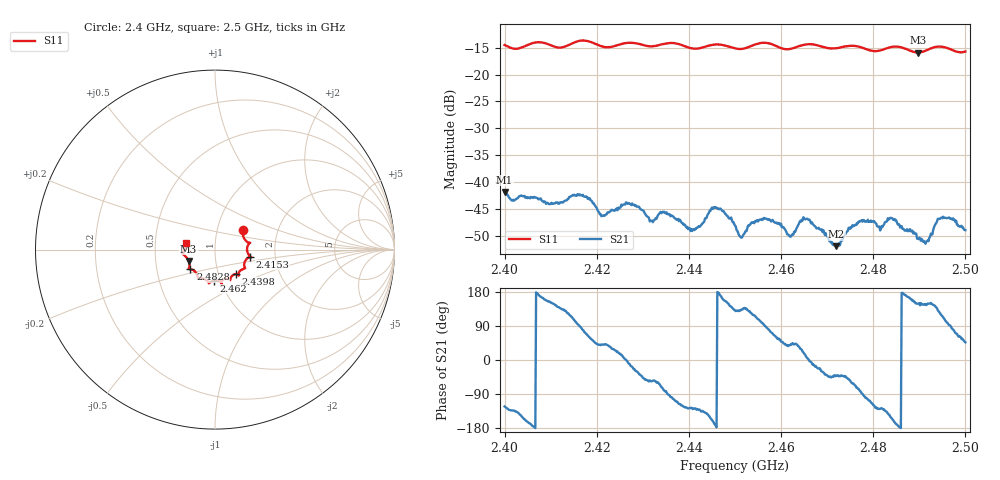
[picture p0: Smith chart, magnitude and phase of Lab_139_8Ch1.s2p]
# Hz S RI R 50
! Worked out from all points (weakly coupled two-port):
!   601 points, 2.4 GHz to 2.5 GHz, reference 50 ohm
!   highest |S21| = -41.83 dB at 2.4 GHz (marker M1); lowest = -51.9 dB at 2.472 GHz (marker M2)
!   lowest |S11| = -15.9 dB at 2.4897 GHz (marker M3), VSWR 1.38, Z = 36.9 - j4.81 ohm
!   |S11| at or under -10 dB: start of sweep to end of sweep
!   S12 and S22 are empty: the file has one direction only
!   S11 on the Smith chart (normalised r, x): 2.4 GHz: 1.33, +0.29; 2.4153 GHz: 1.48, -0.12; 2.4398 GHz: 1.21, -0.34; 2.462 GHz: 0.93, -0.33; 2.4828 GHz: 0.74, -0.17; 2.5 GHz: 0.72, +0.06
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2.4e9  0.1551 0.1066  -0.00437 -0.00682  0 0  0 0
2.41e9  0.1853 0.027  -0.00552 0.00299  0 0  0 0
2.415333e9  0.1965 -0.0386  -0.00158 0.00736  0 0  0 0
2.416667e9  0.2025 -0.0427  0.000802 0.00751  0 0  0 0
2.421167e9  0.1742 -0.0549  0.00365 0.00319  0 0  0 0
2.426833e9  0.1686 -0.1027  0.00629 -0.00086  0 0  0 0
2.433333e9  0.1308 -0.1337  0.00252 -0.0043  0 0  0 0
2.439833e9  0.1156 -0.1362  -0.00224 -0.00289  0 0  0 0
2.4455e9  0.0845 -0.1699  -0.00573 -0.0012  0 0  0 0
2.45e9  0.0654 -0.1625  -0.0026 0.00297  0 0  0 0
2.451333e9  0.0505 -0.1652  -0.00205 0.00226  0 0  0 0
2.456833e9  0.0393 -0.1927  0.000326 0.00458  0 0  0 0
2.462e9  -0.00517 -0.1728  0.0024 0.00199  0 0  0 0
2.466667e9  -0.0343 -0.1879  0.00421 -0.000586  0 0  0 0
2.472e9  -0.0698 -0.1611  0.00193 -0.00166  0 0  0 0
2.477e9  -0.0961 -0.1535  0.00073 -0.00421  0 0  0 0
2.482833e9  -0.1366 -0.1093  -0.00308 -0.00299  0 0  0 0
2.483333e9  -0.1402 -0.109  -0.00361 -0.00267  0 0  0 0
2.489667e9  -0.1469 -0.0635  -0.00254 0.00156  0 0  0 0
2.491667e9  -0.1645 -0.0375  -0.00236 0.00156  0 0  0 0
2.495167e9  -0.1796 -0.0191  -0.00184 0.00441  0 0  0 0
2.5e9  -0.1591 0.0389  0.00246 0.0026  0 0  0 0
